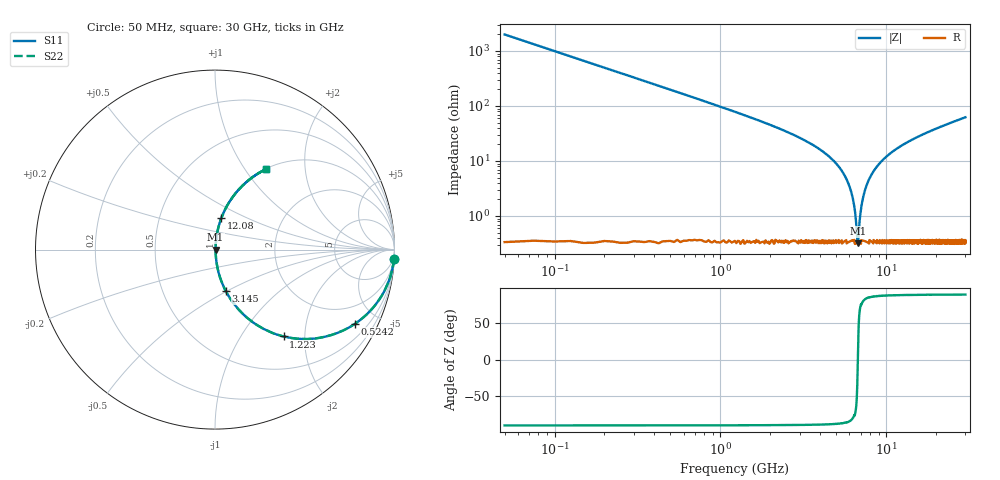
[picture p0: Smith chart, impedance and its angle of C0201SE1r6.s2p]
!	AVX Thin Film Operation 	Date: April 2014
!	Description: Accu-P® Series, Thin Film  SMD RF Capacitor
!	Part Number: 02015J1R6PBSTR
# MHZ S MA R 50
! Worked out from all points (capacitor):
!   1201 points, 50 MHz to 30 GHz, reference 50 ohm
!   read as one part in series: C = 1.6 pF near 199.8 MHz
!   lowest |Z| = 322 mohm at 6.739 GHz (marker M1)
!   series resonance near 6.737 GHz, so ESL is about 350 pH
!   S11 on the Smith chart (normalised r, x): 50 MHz: 1, -40; 524.2 MHz: 1.01, -3.77; 1.223 GHz: 1.01, -1.57; 3.145 GHz: 1.01, -0.49; 12.08 GHz: 1.01, +0.37; 30 GHz: 1.01, +1.25
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50  0.999 -2.9  0.05 87.1  0.05 87.1  0.999 -2.9
274.625  0.964 -15.5  0.266 74.5  0.266 74.5  0.964 -15.5
524.208  0.883 -27.9  0.468 62.0  0.468 62.0  0.883 -27.9
1223.042  0.617 -51.7  0.784 38.1  0.784 38.1  0.617 -51.7
1996.75  0.413 -65.2  0.908 24.4  0.908 24.4  0.413 -65.2
3144.833  0.239 -75.4  0.968 13.8  0.968 13.8  0.239 -75.4
5041.667  0.086 -82.8  0.993 4.9  0.993 4.9  0.086 -82.8
5665.625  0.051 -83.3  0.995 2.9  0.995 2.9  0.051 -83.3
6139.833  0.028 -81.3  0.996 1.6  0.996 1.6  0.028 -81.3
6364.458  0.017 -77.5  0.996 1.0  0.996 1.0  0.017 -77.5
6639  0.005503 -51.5  0.997 0.2  0.997 0.2  0.005503 -51.5
6738.833  0.003409 1.2  0.997 -0.0  0.997 -0.0  0.003409 1.2
6838.667  0.005566 52.0  0.997 -0.3  0.997 -0.3  0.005566 52.0
7213.042  0.02 79.2  0.996 -1.2  0.996 -1.2  0.02 79.2
7762.125  0.042 82.9  0.996 -2.4  0.996 -2.4  0.042 82.9
8685.583  0.075 83.1  0.994 -4.3  0.994 -4.3  0.075 83.1
10058.29  0.12 81.5  0.989 -6.9  0.989 -6.9  0.12 81.5
12079.92  0.179 78.6  0.981 -10.3  0.981 -10.3  0.179 78.6
15025  0.254 74.6  0.964 -14.7  0.964 -14.7  0.254 74.6
20016.67  0.361 68.3  0.929 -21.2  0.929 -21.2  0.361 68.3
25033.29  0.452 62.7  0.889 -26.9  0.889 -26.9  0.452 62.7
30000  0.528 57.8  0.846 -31.9  0.846 -31.9  0.528 57.8
